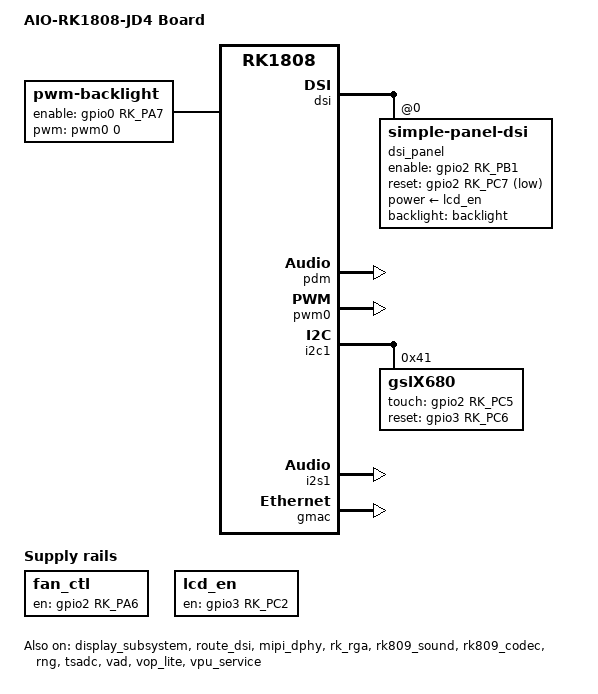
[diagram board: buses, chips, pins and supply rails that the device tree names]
// SPDX-License-Identifier: (GPL-2.0+ OR MIT)
/*
 * Copyright (c) 2018 Fuzhou Rockchip Electronics Co., Ltd
 */

/dts-v1/;
#include <dt-bindings/display/drm_mipi_dsi.h>
#include <dt-bindings/display/media-bus-format.h>
#include "rk1808-firefly-port.dtsi"

/ {
	model = "AIO-RK1808-JD4 Board";
	compatible = "rockchip,rk1808-firefly", "rockchip,rk1808";

	chosen {
		bootargs = "earlycon=uart8250,mmio32,0xff540000 console=ttyFIQ0 rw root=PARTUUID=614e0000-0000 rootfstype=ext4 rootwait swiotlb=1 kpti=0 snd_aloop.index=7";
	};

	vad-sound {
		status = "okay";
		compatible = "rockchip,multicodecs-card";
		rockchip,card-name = "rockchip,rk1808-vad";
		rockchip,cpu = <&pdm>;
		rockchip,codec = <&vad>;
	};

    fiq-debugger {
        compatible = "rockchip,fiq-debugger";
        rockchip,serial-id = <1>;
        rockchip,wake-irq = <0>;
        /* If enable uart uses irq instead of fiq */
        rockchip,irq-mode-enable = <1>;
        rockchip,baudrate = <1500000>;  /* Only 115200 and 1500000 */
        pinctrl-names = "default";
        pinctrl-0 = <&uart1m1_xfer>;
        interrupts = <GIC_SPI 242 IRQ_TYPE_LEVEL_HIGH>;
        status = "okay";
    };

    fan_ctl: fan-ctl-regulator {
        compatible = "regulator-fixed";
        enable-active-high;
       	regulator-always-on;
        regulator-boot-on;
        gpio = <&gpio2 RK_PA6 GPIO_ACTIVE_HIGH>;
        pinctrl-names = "default";
        regulator-name = "fan_ctl";
        pinctrl-0 = <&fan_drv>;
    };

    lcd_en: lcd-en {
        compatible = "regulator-fixed";
        enable-active-high;
        regulator-always-on;
        regulator-boot-on;
        gpio = <&gpio3 RK_PC2 GPIO_ACTIVE_HIGH>;
        regulator-name = "lcd_en";
		pinctrl-names = "default";
        pinctrl-0 = <&lcd_panel_lcd_en>;
    };

	backlight: backlight {
        status = "okay";
        compatible = "pwm-backlight";
        pwms = <&pwm0 0 25000 1>;
        enable-gpios = <&gpio0 RK_PA7 GPIO_ACTIVE_HIGH>;
        polarity = <1>;
        brightness-levels = <
            /*0   1   2   3   4   5   6   7
              8   9  10  11  12  13  14  15
             16  17  18  19  20  21  22  23
             24  25  26  27  28  29  30  31
             32  33  34  35*/36  37  38  39
             40  41  42  43  44  45  46  47
             48  49  50  51  52  53  54  55
             56  57  58  59  60  61  62  63
             64  65  66  67  68  69  70  71
             72  73  74  75  76  77  78  79
             80  81  82  83  84  85  86  87
             88  89  90  91  92  93  94  95
             96  97  98  99 100 101 102 103
            104 105 106 107 108 109 110 111
            112 113 114 115 116 117 118 119
            120 121 122 123 124 125 126 127
            128 129 130 131 132 133 134 135
            136 137 138 139 140 141 142 143
            144 145 146 147 148 149 150 151
            152 153 154 155 156 157 158 159
            160 161 162 163 164 165 166 167
            168 169 170 171 172 173 174 175
            176 177 178 179 180 181 182 183
            184 185 186 187 188 189 190 191
            192 193 194 195 196 197 198 199
            200 201 202 203 204 205 206 207
            208 209 210 211 212 213 214 215
            216 217 218 219 220 221 222 223
            224 225 226 227 228 229 230 231
            232 233 234 235 236 237 238 239
            240 241 242 243 244 245 246 247
            248 249 250 251 252 253 254 255>;
        default-brightness-level = <200>;
    };
};

&dsi {
	status = "okay";
    rockchip,lane-rate = <800>;
	dsi_panel: panel {
        compatible ="simple-panel-dsi";
        reg = <0>;
        backlight = <&backlight>;
        enable-gpios = <&gpio2 RK_PB1 GPIO_ACTIVE_HIGH>;
        reset-gpios = <&gpio2 RK_PC7 GPIO_ACTIVE_LOW>;
        pinctrl-names = "default";
		pinctrl-0 = <&lcd_panel_pwr_en &lcd_panel_reset >;
        dsi,flags = <(MIPI_DSI_MODE_VIDEO | MIPI_DSI_MODE_VIDEO_BURST | MIPI_DSI_MODE_LPM | MIPI_DSI_MODE_EOT_PACKET)>;                                 
        dsi,format = <MIPI_DSI_FMT_RGB888>;
        //bus-format = <MEDIA_BUS_FMT_RGB666_1X18>;
        dsi,lanes = <4>;
        dsi,channel = <0>;
        enable-delay-ms = <35>;
        prepare-delay-ms = <10>;
        unprepare-delay-ms = <0>;
        disable-delay-ms = <20>;
        //size,width = <120>;
        //size,height = <170>;
        power-supply = <&lcd_en>;
		status = "okay";
		
		width-mm = <120>;
		height-mm = <170>;

        panel-init-sequence = [
            29 02 06 3C 01 09 00 07 00
            29 02 06 14 01 06 00 00 00
            29 02 06 64 01 0B 00 00 00
            29 02 06 68 01 0B 00 00 00
            29 02 06 6C 01 0B 00 00 00
            29 02 06 70 01 0B 00 00 00
            29 02 06 34 01 1F 00 00 00
            29 02 06 10 02 1F 00 00 00
            29 02 06 04 01 01 00 00 00
            29 02 06 04 02 01 00 00 00
            29 02 06 50 04 20 01 F0 03
            29 02 06 54 04 19 00 5A 00                                
            29 02 06 58 04 20 03 24 00                                
            29 02 06 5C 04 0A 00 19 00                                
            29 02 06 60 04 00 05 0A 00 
			29 02 06 64 04 01 00 00 00
            29 02 06 A0 04 06 80 44 00
            29 02 06 A0 04 06 80 04 00
            29 02 06 04 05 04 00 00 00
            29 02 06 80 04 00 01 02 03
            29 02 06 84 04 04 07 05 08
            29 02 06 88 04 09 0A 0E 0F
            29 02 06 8C 04 0B 0C 0D 10
            29 02 06 90 04 16 17 11 12
            29 02 06 94 04 13 14 15 1B
            29 02 06 98 04 18 19 1A 06
            29 02 06 9C 04 31 04 00 00
        ];

        panel-exit-sequence = [
            05 05 01 28
            05 78 01 10
        ];

        disp_timings: display-timings {
            native-mode = <&timing0>;
            timing0: timing0 {
                clock-frequency = <166000000>;
                hactive = <800>;
                vactive = <1280>;
                hsync-len = <10>;
                hback-porch = <100>;
                hfront-porch = <1580>;
                vsync-len = <10>;
                vback-porch = <25>;
                vfront-porch = <10>;
                hsync-active = <0>;
                vsync-active = <0>;
                de-active = <0>;
                pixelclk-active = <0>;
            };
        };
    };	
};

&display_subsystem {
	status = "okay";
};

&route_dsi {
    status = "okay";
};

&pdm {
	status = "okay";
	#sound-dai-cells = <0>;
};

&pwm0 {
    status = "okay";
};

&i2c1 {
   	status = "okay";

	gslx680: gslx680@41 {
		compatible = "gslX680";
        reg = <0x41>;
        screen_max_x = <800>;
        screen_max_y = <1280>;
       	touch-gpio = <&gpio2 RK_PC5 IRQ_TYPE_LEVEL_LOW>;
        reset-gpio = <&gpio3 RK_PC6 GPIO_ACTIVE_HIGH>;
        flip-x = <1>;
        flip-y = <0>;
        swap-xy = <0>;
        gsl,fw = <1>;
    };
};

&i2s1 { 
	status = "okay";
	#sound-dai-cells = <0>;
};

&isp_mmu {
	status = "okay";
};

&mipi_dphy {
	status = "okay";
};

&rk_rga {
	status =  "okay";
};

&rk809_sound {
	status = "okay";
};

&rk809_codec {
	mic_in_differential;
	adc-for-loopback;
	spk-ctl-gpios = <&gpio3 RK_PD3 GPIO_ACTIVE_HIGH>;
	status = "okay";
};

&rng {
	status = "okay";
};

&rockchip_suspend {
	status = "okay";
	rockchip,sleep-debug-en = <1>;
};

&tsadc {
	rockchip,hw-tshut-mode = <1>; /* tshut mode 0:CRU 1:GPIO */
	rockchip,hw-tshut-polarity = <0>; /* tshut polarity 0:LOW 1:HIGH */
	pinctrl-names = "gpio", "otpout";
	pinctrl-0 = <&tsadc_otp_gpio>;
	pinctrl-1 = <&tsadc_otp_out>;
	status = "okay";
};

&vad {
	status = "okay";
	rockchip,audio-src = <&pdm>;
	rockchip,buffer-time-ms = <200>;
	rockchip,det-channel = <0>;
	rockchip,mode = <1>;
	#sound-dai-cells = <0>;
};

&vop_lite {
	status = "okay";
};

&vopl_mmu {
	status = "okay";
};

&vpu_mmu {
	status = "okay";
};

&vpu_service {
	status = "okay";
};

&gmac {
	status = "okay";
};

&pinctrl {
    lcd-panel {
        lcd_panel_reset: lcd-panel-reset {
            rockchip,pins = <2 RK_PC7 RK_FUNC_GPIO &pcfg_pull_down>;
        };

        lcd_panel_pwr_en: lcd-panel-pwr-en {
           	rockchip,pins = <1 RK_PB0 RK_FUNC_GPIO &pcfg_pull_down>;
        };

        lcd_panel_lcd_en:lcd_panel_lcd_en {
            rockchip,pins = <3 RK_PC2 RK_FUNC_GPIO &pcfg_pull_down>;
        };

        lcd_panel_bl_en:lcd_panel_bl_en {
            rockchip,pins = <0 RK_PA7 RK_FUNC_GPIO &pcfg_pull_down>;
        };
    };
	
	fan-ctl {
		fan_drv: fan-drv {
			rockchip,pins = <2 RK_PA6 RK_FUNC_GPIO &pcfg_pull_none>; 
		};
	};
};
